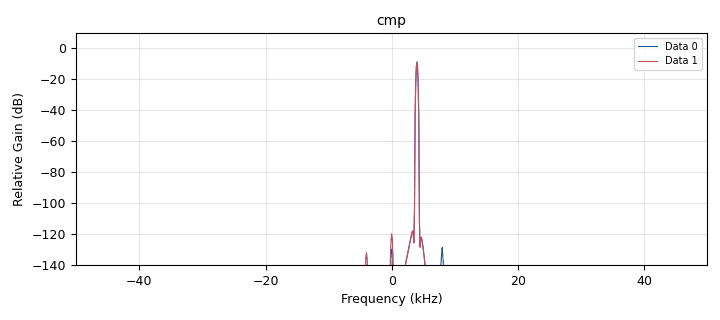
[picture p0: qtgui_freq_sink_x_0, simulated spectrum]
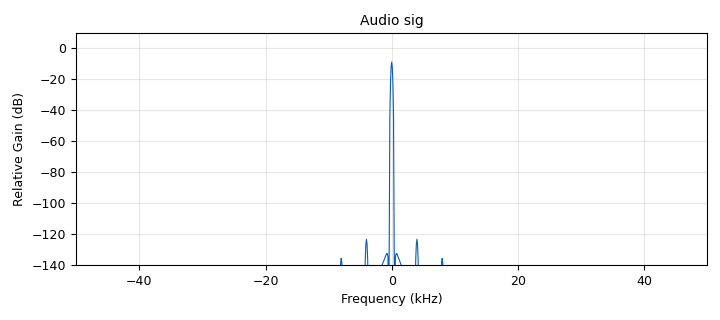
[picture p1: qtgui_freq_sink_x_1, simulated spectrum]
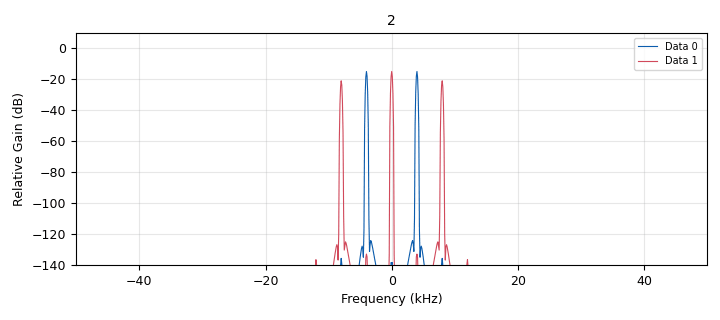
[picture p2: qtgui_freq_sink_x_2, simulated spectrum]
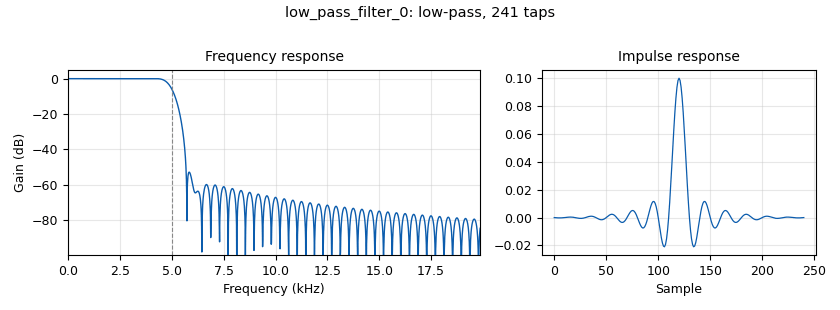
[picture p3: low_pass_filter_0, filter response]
options:
  parameters:
    category: Custom
    description: Transmit a pre-defined signal (a complex sine) as OFDM packets.
    generate_options: qt_gui
    id: ofdm_loopback_example
    output_language: python
    title: OFDM Loopback Example
  states: {}

blocks:
- name: fft_len
  id: variable
  parameters:
    value: '64'
  states: {}
- name: len_tag_key
  id: variable
  parameters:
    value: '"packet_len"'
  states: {}
- name: packet_len
  id: variable
  parameters:
    value: '50'
  states: {}
- name: samp_rate
  id: variable
  parameters:
    value: '100000'
  states: {}
- name: analog_sig_source_x_0
  id: analog_sig_source_x
  parameters:
    amp: '1'
    freq: '4000'
    offset: '0'
    phase: '0'
    samp_rate: samp_rate
    type: float
    waveform: analog.GR_COS_WAVE
  states: {}
- name: analog_sig_source_x_0_0
  id: analog_sig_source_x
  parameters:
    amp: '1'
    freq: '4000'
    offset: '0'
    phase: '0'
    samp_rate: samp_rate
    type: complex
    waveform: analog.GR_COS_WAVE
  states: {}
- name: analog_sig_source_x_1
  id: analog_sig_source_x
  parameters:
    amp: '1'
    freq: '4000'
    offset: '0'
    phase: '0'
    samp_rate: samp_rate
    type: float
    waveform: analog.GR_SIN_WAVE
  states: {}
- name: audio_sink_0
  id: audio_sink
  parameters:
    samp_rate: samp_rate
  states: {}
- name: blocks_add_xx_0
  id: blocks_add_xx
  parameters:
    type: float
  states: {}
- name: blocks_complex_to_float_0
  id: blocks_complex_to_float
  parameters: {}
  states: {}
- name: blocks_float_to_complex_0
  id: blocks_float_to_complex
  parameters: {}
  states: {}
- name: blocks_multiply_xx_0
  id: blocks_multiply_xx
  parameters:
    type: float
  states: {}
- name: blocks_multiply_xx_0_0
  id: blocks_multiply_xx
  parameters:
    type: float
  states: {}
- name: blocks_multiply_xx_0_1
  id: blocks_multiply_xx
  parameters:
    type: float
  states: {}
- name: blocks_multiply_xx_0_2
  id: blocks_multiply_xx
  parameters:
    type: float
  states: {}
- name: low_pass_filter_0
  id: low_pass_filter
  parameters:
    cutoff_freq: '5000'
    decim: '1'
    gain: '1'
    samp_rate: samp_rate
    type: fir_filter_fff
    width: '1000'
    win: window.WIN_HAMMING
  states: {}
- name: low_pass_filter_0_0
  id: low_pass_filter
  parameters:
    cutoff_freq: '5000'
    decim: '1'
    gain: '1'
    samp_rate: samp_rate
    type: fir_filter_fff
    width: '1000'
    win: window.WIN_HAMMING
  states: {}
- name: qtgui_freq_sink_x_0
  id: qtgui_freq_sink_x
  parameters:
    bw: samp_rate
    fc: '0'
    fftsize: '1024'
    name: '"cmp"'
    nconnections: '2'
    type: complex
  states: {}
- name: qtgui_freq_sink_x_1
  id: qtgui_freq_sink_x
  parameters:
    bw: samp_rate
    fc: '0'
    fftsize: '1024'
    name: '"Audio sig"'
    type: float
  states: {}
- name: qtgui_freq_sink_x_2
  id: qtgui_freq_sink_x
  parameters:
    bw: samp_rate
    fc: '0'
    fftsize: '1024'
    name: '"2"'
    nconnections: '2'
    type: float
  states: {}
- name: virtual_sink_0
  id: virtual_sink
  parameters:
    stream_id: audio
  states: {}
- name: virtual_source_1
  id: virtual_source
  parameters:
    stream_id: audio
  states: {}

connections:
- [analog_sig_source_x_0, '0', blocks_multiply_xx_0, '0']
- [analog_sig_source_x_0, '0', blocks_multiply_xx_0_2, '0']
- [analog_sig_source_x_0_0, '0', blocks_complex_to_float_0, '0']
- [analog_sig_source_x_0_0, '0', qtgui_freq_sink_x_0, '0']
- [analog_sig_source_x_1, '0', blocks_multiply_xx_0_0, '1']
- [analog_sig_source_x_1, '0', blocks_multiply_xx_0_1, '0']
- [blocks_add_xx_0, '0', audio_sink_0, '0']
- [blocks_add_xx_0, '0', qtgui_freq_sink_x_1, '0']
- [blocks_add_xx_0, '0', virtual_sink_0, '0']
- [blocks_complex_to_float_0, '0', blocks_multiply_xx_0, '1']
- [blocks_complex_to_float_0, '0', qtgui_freq_sink_x_2, '0']
- [blocks_complex_to_float_0, '1', blocks_multiply_xx_0_0, '0']
- [blocks_float_to_complex_0, '0', qtgui_freq_sink_x_0, '1']
- [blocks_multiply_xx_0, '0', blocks_add_xx_0, '0']
- [blocks_multiply_xx_0, '0', qtgui_freq_sink_x_2, '1']
- [blocks_multiply_xx_0_0, '0', blocks_add_xx_0, '1']
- [blocks_multiply_xx_0_1, '0', low_pass_filter_0_0, '0']
- [blocks_multiply_xx_0_2, '0', low_pass_filter_0, '0']
- [low_pass_filter_0, '0', blocks_float_to_complex_0, '0']
- [low_pass_filter_0_0, '0', blocks_float_to_complex_0, '1']
- [virtual_source_1, '0', blocks_multiply_xx_0_1, '1']
- [virtual_source_1, '0', blocks_multiply_xx_0_2, '1']

metadata:
  file_format: 1
  grc_version: 3.10.2.0
